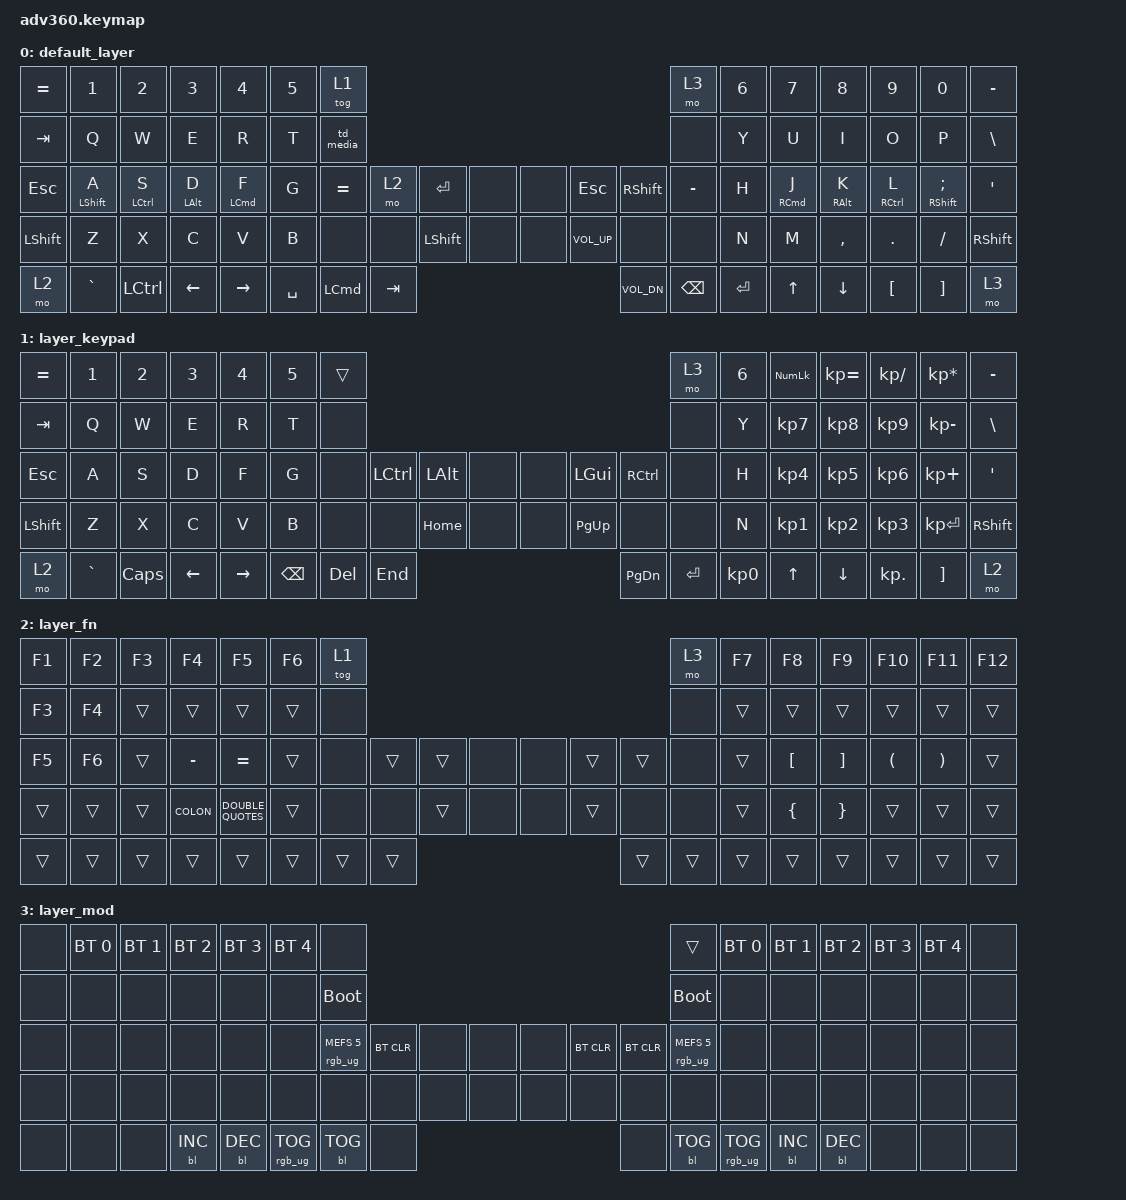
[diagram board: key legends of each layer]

/*
 * Copyright (c) 2020 The ZMK Contributors
 *
 * SPDX-License-Identifier: MIT
 */


/* THIS FILE WAS GENERATED!
 *
 * This file was generated automatically. You may or may not want to
 * edit it directly.
 */

#include <behaviors.dtsi>
#include <dt-bindings/zmk/keys.h>
#include <dt-bindings/zmk/bt.h>
#include <dt-bindings/zmk/rgb.h>
#include <dt-bindings/zmk/backlight.h>

/ {
  behaviors {
    #include "macros.dtsi"

    hm: homerow_mods {
        compatible = "zmk,behavior-hold-tap";
        label = "HOMEROW_MODS";
        #binding-cells = <2>;
        tapping-term-ms = <250>;
        quick_tap_ms = <175>;
        flavor = "tap-preferred";
        bindings = <&kp>, <&kp>;
    };

    /*
    * td_media mimics the behavior of AirPods controls: (taken from https://github.com/rastasheep/zmk-config/blob/master/config/corne.keymap)
    *  - tap once for play / pause
    *  - tap twice for next track
    *  - tap three times for previous track
    */
    td_media: tap_dance_media {
      compatible = "zmk,behavior-tap-dance";
      label = "TAP_DANCE_MEDIA";
      #binding-cells = <0>;
      tapping-term-ms = <250>;
      bindings = <&kp C_PLAY_PAUSE>, <&kp C_NEXT>, <&kp C_PREVIOUS>;
    };
  };


    keymap {
        compatible = "zmk,keymap";

        /*
      │             
      │             
   ┌──┘───┐  │      
   │      └──┤      
   │         ├──┐   
───┴──┬──────┤  └───
      │      │      
   ┌──┘      │      
   │        ┌┼──┐   
   │        ││  │   
            ││  │   
            └┼──┘   
             │      
             │      
        */


        default_layer {
            bindings = <
//  ┌────────────+────────────────────+─────────────────────────+──────────────────+───────────────────────+──────────────+───────────────+                                                                                                                                        ┌──────────────+──────────+────────────────────────+────────────────────+───────────────────────+──────────────────────────────+──────────────┐
      &kp EQUAL     &kp N1                 &kp N2                  &kp N3             &kp N4                 &kp N5          &tog 1                                                                                                                                                   &mo 3          &kp N6      &kp N7                   &kp N8               &kp N9                   &kp N0                         &kp MINUS    
//  |────────────+────────────────────+─────────────────────────+──────────────────+───────────────────────+──────────────+───────────────+                                                                                                                                        +──────────────+──────────+────────────────────────+────────────────────+───────────────────────+──────────────────────────────+──────────────┤
      &kp TAB       &kp Q                  &kp W                   &kp E              &kp R                  &kp T           &td_media                                                                                                                                                &none          &kp Y       &kp U                    &kp I                &kp O                    &kp P                          &kp BSLH     
//  |────────────+────────────────────+─────────────────────────+──────────────────+───────────────────────+──────────────+───────────────+                    ┌─────────────────────+─────────────+───────────+──────────+───────────────────+──────────────────┐                 +──────────────+──────────+────────────────────────+────────────────────+───────────────────────+──────────────────────────────+──────────────┤
      &kp ESC       &hm LEFT_SHIFT A       &hm LEFT_CONTROL S      &hm LEFT_ALT D     &hm LEFT_COMMAND F     &kp G           &kp EQUAL                             &mo 2                &kp ENTER       &none      &none      &kp ESC             &kp RSHIFT                          &kp MINUS      &kp H       &hm RIGHT_COMMAND J      &hm RIGHT_ALT K      &hm RIGHT_CONTROL L      &hm RIGHT_SHIFT SEMICOLON      &kp SQT      
//  |────────────+────────────────────+─────────────────────────+──────────────────+───────────────────────+──────────────+───────────────+────────────────────+─────────────────────+─────────────+───────────+──────────+───────────────────+──────────────────+─────────────────+──────────────+──────────+────────────────────────+────────────────────+───────────────────────+──────────────────────────────+──────────────┤
      &kp LSHFT     &kp Z                  &kp X                   &kp C              &kp V                  &kp B                              &none              &none                &kp LSHIFT      &none      &none      &kp C_VOL_UP        &none                &none                         &kp N       &kp M                    &kp COMMA            &kp DOT                  &kp FSLH                       &kp RSHFT  
//  |────────────+────────────────────+─────────────────────────+──────────────────+───────────────────────+──────────────┘               └────────────────────+─────────────────────+─────────────+───────────+──────────+───────────────────+──────────────────+─────────────────+              └──────────+────────────────────────+────────────────────+───────────────────────+──────────────────────────────+──────────────┤
      &mo 2         &kp GRAVE              &kp LEFT_CONTROL        &kp LEFT           &kp RIGHT                                                 &kp SPACE          &kp LEFT_COMMAND     &kp TAB                               &kp C_VOL_DN        &kp BACKSPACE        &kp ENTER                                 &kp UP                   &kp DOWN             &kp LBKT                 &kp RBKT                       &mo 3                         
//  └────────────+────────────────────+─────────────────────────+──────────────────+───────────────────────┘                              └────────────────────+─────────────────────+─────────────┘                      └───────────────────+──────────────────+─────────────────┘                         └────────────────────────+────────────────────+───────────────────────+──────────────────────────────+──────────────┘
            >;
        };

        layer_keypad {
            bindings = <
 &kp EQUAL      &kp N1      &kp N2      &kp N3       &kp N4      &kp N5           &trans                                                                    &mo 3       &kp N6  &kp KP_NUM    &kp KP_EQUAL   &kp KP_DIVIDE     &kp KP_MULTIPLY  &kp MINUS
 &kp TAB        &kp Q       &kp W       &kp E        &kp R       &kp T            &none                                                                     &none       &kp Y   &kp KP_N7     &kp KP_N8      &kp KP_N9         &kp KP_MINUS     &kp BSLH
 &kp ESC        &kp A       &kp S       &kp D        &kp F       &kp G            &none       &kp LCTRL  &kp LALT   &none   &none   &kp LGUI    &kp RCTRL   &none       &kp H   &kp KP_N4     &kp KP_N5      &kp KP_N6         &kp KP_PLUS      &kp SQT
 &kp LSHFT      &kp Z       &kp X       &kp C        &kp V       &kp B            &none       &none      &kp HOME   &none   &none   &kp PG_UP   &none       &none       &kp N   &kp KP_N1     &kp KP_N2      &kp KP_N3         &kp KP_ENTER     &kp RSHFT
 &mo 2          &kp GRAVE   &kp CAPS    &kp LEFT     &kp RIGHT                    &kp BSPC    &kp DEL    &kp END                    &kp PG_DN   &kp ENTER   &kp KP_N0   &kp UP  &kp DOWN      &kp KP_DOT     &kp RBKT          &mo 2
            >;
        };

        layer_fn {
            bindings = <
 &kp F1  &kp F2  &kp F3  &kp F4     &kp F5             &kp F6             &tog 1                                                    &mo 3  &kp F7  &kp F8    &kp F9     &kp F10    &kp F11    &kp F12
 &kp F3  &kp F4  &trans  &trans     &trans             &trans             &none                                                     &none  &trans  &trans    &trans     &trans     &trans     &trans
 &kp F5  &kp F6  &trans  &kp MINUS  &kp EQUAL          &trans             &none   &trans  &trans   &none   &none  &trans   &trans   &none  &trans  &kp LBKT  &kp RBKT   &kp LPAR   &kp RPAR   &trans
 &trans  &trans  &trans  &COLON     &DOUBLE_QUOTES     &trans             &none   &none   &trans   &none   &none  &trans   &none    &none  &trans  &kp LBRC  &kp RBRC   &trans     &trans     &trans
 &trans  &trans  &trans  &trans     &trans                                &trans  &trans  &trans                  &trans   &trans   &trans         &trans    &trans     &trans     &trans     &trans
            >;
        };

        layer_mod {
            bindings = <
  &none  &bt BT_SEL 0  &bt BT_SEL 1  &bt BT_SEL 2  &bt BT_SEL 3  &bt BT_SEL 4                             &none                                                                              &trans  &bt BT_SEL 0  &bt BT_SEL 1  &bt BT_SEL 2  &bt BT_SEL 3  &bt BT_SEL 4   &none
  &none         &none         &none         &none         &none         &none                       &bootloader                                                                         &bootloader         &none         &none         &none         &none         &none   &none
  &none         &none         &none         &none         &none         &none            &rgb_ug RGB_MEFS_CMD 5  &bt BT_CLR   &none   &none   &none  &bt BT_CLR  &bt BT_CLR  &rgb_ug RGB_MEFS_CMD 5         &none         &none         &none         &none         &none   &none
  &none         &none         &none         &none         &none         &none                             &none       &none   &none   &none   &none       &none       &none                   &none         &none         &none         &none         &none         &none   &none
  &none         &none         &none    &bl BL_INC    &bl BL_DEC                                 &rgb_ug RGB_TOG  &bl BL_TOG   &none                       &none  &bl BL_TOG         &rgb_ug RGB_TOG                  &bl BL_INC    &bl BL_DEC         &none         &none   &none
            >;
        };

    };
};
